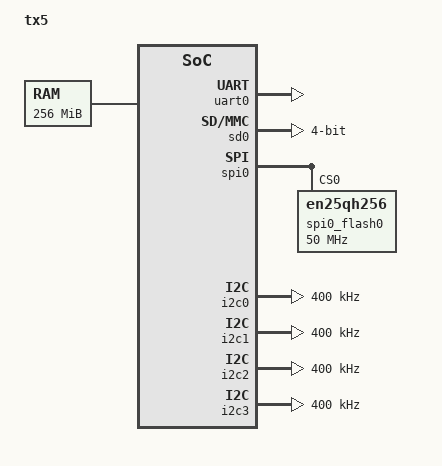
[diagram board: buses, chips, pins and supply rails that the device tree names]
/*
 * Copyright (C) 2014 Faraday, Inc. (www.faraday-tech.com)
 *
 * This program is free software; you can redistribute it and/or modify
 * it under the terms of the GNU General Public License version 2 as
 * published by the Free Software Foundation.
 */
 /dts-v1/;

/ {
	model = "tx5";
	compatible = "arm,faraday-soc";
	u-boot,dm-pre-reloc;
	interrupt-parent = <&gic>;
	#address-cells = <1>;
	#size-cells = <1>;
	
	aliases {
		serial0 = &uart0;
		spi0 = &spi0;
	};
	
	cpus {
		#address-cells = <1>;
		#size-cells = <0>;
		
		cpu@0 {
			device_type = "cpu";
			compatible = "arm,cortex-a53", "arm,armv8";
			reg = <0x000>;
			enable-method = "spin-table";
		};
		cpu@1 {
			device_type = "cpu";
			compatible = "arm,cortex-a53","arm,armv8";
			reg = <0x001>;
			enable-method = "spin-table";
			cpu-release-addr = <0x0 0x28030008>;
			cpu-magic-addr = <0x0 0x28030000>;
		};
		cpu@2 {
			device_type = "cpu";
			compatible = "arm,cortex-a53","arm,armv8";
			clock-frequency = <50000000>;
			reg = <0x002>;
			enable-method = "spin-table";
			cpu-release-addr = <0x0 0x28030008>;
			cpu-magic-addr = <0x0 0x28030000>;
		};
		cpu@3 {
			device_type = "cpu";
			compatible = "arm,cortex-a53","arm,armv8";
			clock-frequency = <50000000>;
			reg = <0x003>;
			enable-method = "spin-table";
			cpu-release-addr = <0x0 0x28030008>;
			cpu-magic-addr = <0x0 0x28030000>;
		};
	};
	
	memory@40000000 {
		device_type = "memory";
		reg = <0x40000000 0x10000000>;
	};
	
	gic: interrupt-controller@03000000 {
		compatible = "arm,gic-400", "arm,cortex-a15-gic";
		interrupt-controller;
		#interrupt-cells = <3>;
		#address-cells = <1>;
		reg = <0x03001000 0x1000>,
		      <0x03002000 0x1000>;
	};
	
	chosen {
		bootargs = "mem=256M console=ttyS0,115200";
		stdout-path = &uart0;
		tick-timer = &timer0;
	};
	
	timer0: timer@05100000 {
		compatible = "faraday,fttmr010-timer";
		reg = <0x05100000 0x1000>;
	};
	
	uart0: uart@0c600000 {
		compatible = "of_serial,ns16550_serial", "ns16550";
		clock-frequency = <30000000>;
		reg = <0x0c600000 0x1000>;
		reg-offset = <0>;
		reg-shift = <2>;
		reg-io-width = <4>;
		no-loopback-test;
	};
	
	sd0: sd@02200000 {
		compatible = "faraday,ftsdc021-sdhci";
		interrupt-parent = <&gic>;
		reg = <0x02200000 0x1000>;
		bus-width = <4>;
		status = "okay";
	};
	
	sd1: sd@02300000 {
		compatible = "faraday,ftsdc021-sdhci";
		interrupt-parent = <&gic>;
		reg = <0x02300000 0x1000>;
		bus-width = <4>;
		status = "disabled";
	};
	
	spi0: spi@03600000 {
		compatible = "faraday,ftspi020_spi";
		interrupt-parent = <&gic>;
		reg = <0x03600000 0x200>;
		num-cs = <4>;
		cs = <0>;
		max_hz = <20000000>;
		status = "okay";
		
		#address-cells = <1>;
		#size-cells = <0>;
		spi0_flash0: spi0_flash0@0 {
			compatible = "en25qh256";
			#address-cells = <1>;
			#size-cells = <1>;
			spi-max-frequency = <50000000>;
			reg = <0>;
			
			spi0_flash0@00000000 {
				label = "spi0_flash0";
				reg = <0x0 0x100000>;
			};
		};
	};
	
	i2c0: i2c@0ca00000 {
		compatible = "faraday,fti2c010-i2c";
		interrupt-parent = <&gic>;
		dev_id = <0>;
		reg = <0x0ca00000 0x1000>;
		clock-frequency = <400000>;
		status = "okay";
	};
	
	i2c1: i2c@0cb00000 {
		compatible = "faraday,fti2c010-i2c";
		interrupt-parent = <&gic>;
		dev_id = <1>;
		reg = <0x0cb00000 0x1000>;
		clock-frequency = <400000>;
		status = "okay";
	};
	
	i2c2: i2c@0cc00000 {
		compatible = "faraday,fti2c010-i2c";
		interrupt-parent = <&gic>;
		dev_id = <2>;
		reg = <0x0cc00000 0x1000>;
		clock-frequency = <400000>;
		status = "okay";
	};
	
	i2c3: i2c@0cd00000 {
		compatible = "faraday,fti2c010-i2c";
		interrupt-parent = <&gic>;
		dev_id = <3>;
		reg = <0x0cd00000 0x1000>;
		clock-frequency = <400000>;
		status = "okay";
	};
};
